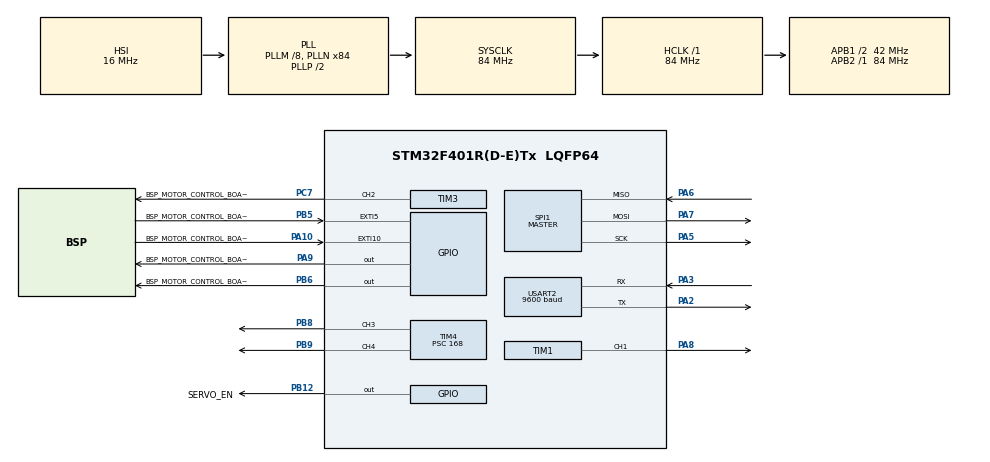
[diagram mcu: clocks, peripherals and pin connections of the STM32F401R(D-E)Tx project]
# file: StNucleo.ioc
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FREERTOS.HEAP_NUMBER=1
FREERTOS.Mutexes01=paramUpdateMutex,Dynamic,NULL
FREERTOS.Queues01=commBuffer,32,uint8_t,0,Dynamic,NULL,NULL
FREERTOS.Tasks01=defaultTask,24,256,DefaultTask,As weak,NULL,Dynamic,NULL,NULL;servoTask,24,256,ServoTask,As weak,NULL,Dynamic,NULL,NULL;motorTask,24,256,MotorTask,As weak,NULL,Dynamic,NULL,NULL
FREERTOS.configMINIMAL_STACK_SIZE=256
Mcu.Family=STM32F4
Mcu.Name=STM32F401R(D-E)Tx
Mcu.Package=LQFP64
NVIC.EXTI15_10_IRQn=true\:5\:0\:true\:false\:true\:false\:true\:true
NVIC.EXTI9_5_IRQn=true\:5\:0\:true\:false\:true\:false\:true\:true
NVIC.PriorityGroup=NVIC_PRIORITYGROUP_4
NVIC.TIM2_IRQn=true\:0\:0\:false\:false\:true\:false\:false\:true
NVIC.TimeBase=TIM2_IRQn
NVIC.TimeBaseIP=TIM2
NVIC.USART2_IRQn=true\:6\:0\:true\:false\:true\:true\:true\:true
PA10.GPIO_Label=BSP_MOTOR_CONTROL_BOARD_FLAG
PA10.Signal=GPXTI10
PA13.Mode=Serial_Wire
PA13.Signal=SYS_JTMS-SWDIO
PA14.Mode=Serial_Wire
PA14.Signal=SYS_JTCK-SWCLK
PA2.Mode=Asynchronous
PA2.Signal=USART2_TX
PA3.Mode=Asynchronous
PA3.Signal=USART2_RX
PA5.Mode=Full_Duplex_Master
PA5.Signal=SPI1_SCK
PA6.Mode=Full_Duplex_Master
PA6.Signal=SPI1_MISO
PA7.Mode=Full_Duplex_Master
PA7.Signal=SPI1_MOSI
PA8.Signal=S_TIM1_CH1
PA9.GPIO_Label=BSP_MOTOR_CONTROL_BOARD_STBY_RESET
PA9.Signal=GPIO_Output
PB12.GPIO_Label=SERVO_EN
PB12.Signal=GPIO_Output
PB5.GPIO_Label=BSP_MOTOR_CONTROL_BOARD_BUSY
PB5.Signal=GPXTI5
PB6.GPIO_Label=BSP_MOTOR_CONTROL_BOARD_CS
PB6.Signal=GPIO_Output
PB8.Signal=S_TIM4_CH3
PB9.Signal=S_TIM4_CH4
PC14-OSC32_IN.Mode=LSE-External-Oscillator
PC14-OSC32_IN.Signal=RCC_OSC32_IN
PC15-OSC32_OUT.Mode=LSE-External-Oscillator
PC15-OSC32_OUT.Signal=RCC_OSC32_OUT
PC7.GPIO_Label=BSP_MOTOR_CONTROL_BOARD_STEP_CLOCK
PC7.Signal=S_TIM3_CH2
ProjectManager.HeapSize=0x200
ProjectManager.StackSize=0x400
ProjectManager.TargetToolchain=STM32CubeIDE
RCC.48MHZClocksFreq_Value=42000000
RCC.AHBFreq_Value=84000000
RCC.APB1CLKDivider=RCC_HCLK_DIV2
RCC.APB1Freq_Value=42000000
RCC.APB1TimFreq_Value=84000000
RCC.APB2Freq_Value=84000000
RCC.APB2TimFreq_Value=84000000
RCC.CortexFreq_Value=84000000
RCC.HCLKFreq_Value=84000000
RCC.HSE_VALUE=25000000
RCC.HSI_VALUE=16000000
RCC.PLLM=8
RCC.PLLN=84
RCC.SYSCLKFreq_VALUE=84000000
RCC.SYSCLKSource=RCC_SYSCLKSOURCE_PLLCLK
RCC.VCOOutputFreq_Value=168000000
SH.S_TIM1_CH1.0=TIM1_CH1,PWM Generation1 CH1
SH.S_TIM3_CH2.0=TIM3_CH2,PWM Generation2 CH2
SH.S_TIM4_CH3.0=TIM4_CH3,PWM Generation3 CH3
SH.S_TIM4_CH4.0=TIM4_CH4,PWM Generation4 CH4
SPI1.BaudRatePrescaler=SPI_BAUDRATEPRESCALER_32
SPI1.CLKPolarity=SPI_POLARITY_HIGH
SPI1.Direction=SPI_DIRECTION_2LINES
SPI1.Mode=SPI_MODE_MASTER
SPI1.VirtualType=VM_MASTER
TIM1.Channel-PWM\ Generation1\ CH1=TIM_CHANNEL_1
TIM1.Period=9999
TIM1.Prescaler=168
TIM3.Channel-PWM\ Generation2\ CH2=TIM_CHANNEL_2
TIM4.Channel-PWM\ Generation3\ CH3=TIM_CHANNEL_3
TIM4.Channel-PWM\ Generation4\ CH4=TIM_CHANNEL_4
TIM4.Period=9999
TIM4.Prescaler=168
USART2.BaudRate=9600
USART2.VirtualMode=VM_ASYNC
VP_FREERTOS_VS_CMSIS_V2.Mode=CMSIS_V2
VP_SYS_VS_tim2.Mode=TIM2
board=custom

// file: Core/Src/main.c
/* USER CODE BEGIN Header */
/**
 ******************************************************************************
 * @file           : main.c
 * @brief          : Main program body
 ******************************************************************************
 * @attention
 *
 * <h2><center>&copy; Copyright (c) 2020 STMicroelectronics.
 * All rights reserved.</center></h2>
 *
 * This software component is licensed by ST under BSD 3-Clause license,
 * the "License"; You may not use this file except in compliance with the
 * License. You may obtain a copy of the License at:
 *                        opensource.org/licenses/BSD-3-Clause
 *
 ******************************************************************************
 */
/* USER CODE END Header */
#include "main.h"
#include "cmsis_os.h"

/* USER CODE BEGIN Includes */
#include "motor.h"
#include "motors.h"
#include <math.h>
#include "x_nucleo_ihmxx.h"
#include "powerstep01.h"
/* USER CODE END Includes */

SPI_HandleTypeDef hspi1;

TIM_HandleTypeDef htim1;
TIM_HandleTypeDef htim3;
TIM_HandleTypeDef htim4;

UART_HandleTypeDef huart2;

/* Definitions for defaultTask */
osThreadId_t defaultTaskHandle;
const osThreadAttr_t defaultTask_attributes = {
  .name = "defaultTask",
  .priority = (osPriority_t) osPriorityNormal,
  .stack_size = 256 * 4
};
/* Definitions for servoTask */
osThreadId_t servoTaskHandle;
const osThreadAttr_t servoTask_attributes = {
  .name = "servoTask",
  .priority = (osPriority_t) osPriorityNormal,
  .stack_size = 256 * 4
};
/* Definitions for motorTask */
osThreadId_t motorTaskHandle;
const osThreadAttr_t motorTask_attributes = {
  .name = "motorTask",
  .priority = (osPriority_t) osPriorityNormal,
  .stack_size = 256 * 4
};
/* Definitions for commBuffer */
osMessageQueueId_t commBufferHandle;
const osMessageQueueAttr_t commBuffer_attributes = {
  .name = "commBuffer"
};
/* Definitions for paramUpdateMutex */
osMutexId_t paramUpdateMutexHandle;
const osMutexAttr_t paramUpdateMutex_attributes = {
  .name = "paramUpdateMutex"
};
/* USER CODE BEGIN PV */
static float drumAngle = 11.5f; //end
static float liftAngle = 12.f;   //full up position
static float ejector = 6.6f;    //closed
/* USER CODE END PV */

void SystemClock_Config(void);
static void MX_GPIO_Init(void);
static void MX_SPI1_Init(void);
static void MX_TIM3_Init(void);
static void MX_USART2_UART_Init(void);
static void MX_TIM4_Init(void);
static void MX_TIM1_Init(void);
void DefaultTask(void *argument);
void ServoTask(void *argument);
void MotorTask(void *argument);

int main(void)
{

  /* MCU Configuration--------------------------------------------------------*/

  /* Reset of all peripherals, Initializes the Flash interface and the Systick. */
  HAL_Init();

  /* USER CODE BEGIN Init */
  uwTickPrio = 15;
  /* USER CODE END Init */

  /* Configure the system clock */
  SystemClock_Config();

  /* Initialize all configured peripherals */
  MX_GPIO_Init();
  MX_SPI1_Init();
  MX_TIM3_Init();
  MX_USART2_UART_Init();
  MX_TIM4_Init();
  MX_TIM1_Init();
  /* USER CODE BEGIN 2 */

  HAL_TIM_PWM_Start(&htim1, TIM_CHANNEL_1);
  HAL_TIM_PWM_Start(&htim4, TIM_CHANNEL_3);
  HAL_TIM_PWM_Start(&htim4, TIM_CHANNEL_4);

  //TIM1->CCR1 = drumAngle*10000/100; // drum
  //TIM4->CCR3 = liftAngle*10000/100; // lift
  //TIM4->CCR4 = ejector*10000/100;   // ejector
  // 50Hz --> 20ms; 1ms ... 2ms --> 5% ... 10%

  /* USER CODE END 2 */

  /* Init scheduler */
  osKernelInitialize();
  /* Create the mutex(es) */
  /* creation of paramUpdateMutex */
  paramUpdateMutexHandle = osMutexNew(&paramUpdateMutex_attributes);

  /* Create the queue(s) */
  /* creation of commBuffer */
  commBufferHandle = osMessageQueueNew (32, sizeof(uint8_t), &commBuffer_attributes);

  /* Create the thread(s) */
  /* creation of defaultTask */
  defaultTaskHandle = osThreadNew(DefaultTask, NULL, &defaultTask_attributes);

  /* creation of servoTask */
  servoTaskHandle = osThreadNew(ServoTask, NULL, &servoTask_attributes);

  /* creation of motorTask */
  motorTaskHandle = osThreadNew(MotorTask, NULL, &motorTask_attributes);

  /* Start scheduler */
  osKernelStart();

  /* We should never get here as control is now taken by the scheduler */
  /* Infinite loop */
	while (1) {

	}
}

void SystemClock_Config(void)
{
  RCC_OscInitTypeDef RCC_OscInitStruct = {0};
  RCC_ClkInitTypeDef RCC_ClkInitStruct = {0};

  /** Configure the main internal regulator output voltage
  */
  __HAL_RCC_PWR_CLK_ENABLE();
  __HAL_PWR_VOLTAGESCALING_CONFIG(PWR_REGULATOR_VOLTAGE_SCALE2);
  /** Initializes the RCC Oscillators according to the specified parameters
  * in the RCC_OscInitTypeDef structure.
  */
  RCC_OscInitStruct.OscillatorType = RCC_OSCILLATORTYPE_HSI;
  RCC_OscInitStruct.HSIState = RCC_HSI_ON;
  RCC_OscInitStruct.HSICalibrationValue = RCC_HSICALIBRATION_DEFAULT;
  RCC_OscInitStruct.PLL.PLLState = RCC_PLL_ON;
  RCC_OscInitStruct.PLL.PLLSource = RCC_PLLSOURCE_HSI;
  RCC_OscInitStruct.PLL.PLLM = 8;
  RCC_OscInitStruct.PLL.PLLN = 84;
  RCC_OscInitStruct.PLL.PLLP = RCC_PLLP_DIV2;
  RCC_OscInitStruct.PLL.PLLQ = 4;
  if (HAL_RCC_OscConfig(&RCC_OscInitStruct) != HAL_OK)
  {
    Error_Handler();
  }
  /** Initializes the CPU, AHB and APB buses clocks
  */
  RCC_ClkInitStruct.ClockType = RCC_CLOCKTYPE_HCLK|RCC_CLOCKTYPE_SYSCLK
                              |RCC_CLOCKTYPE_PCLK1|RCC_CLOCKTYPE_PCLK2;
  RCC_ClkInitStruct.SYSCLKSource = RCC_SYSCLKSOURCE_PLLCLK;
  RCC_ClkInitStruct.AHBCLKDivider = RCC_SYSCLK_DIV1;
  RCC_ClkInitStruct.APB1CLKDivider = RCC_HCLK_DIV2;
  RCC_ClkInitStruct.APB2CLKDivider = RCC_HCLK_DIV1;

  if (HAL_RCC_ClockConfig(&RCC_ClkInitStruct, FLASH_LATENCY_2) != HAL_OK)
  {
    Error_Handler();
  }
}

static void MX_SPI1_Init(void)
{

  /* SPI1 parameter configuration*/
  hspi1.Instance = SPI1;
  hspi1.Init.Mode = SPI_MODE_MASTER;
  hspi1.Init.Direction = SPI_DIRECTION_2LINES;
  hspi1.Init.DataSize = SPI_DATASIZE_8BIT;
  hspi1.Init.CLKPolarity = SPI_POLARITY_HIGH;
  hspi1.Init.CLKPhase = SPI_PHASE_1EDGE;
  hspi1.Init.NSS = SPI_NSS_SOFT;
  hspi1.Init.BaudRatePrescaler = SPI_BAUDRATEPRESCALER_32;
  hspi1.Init.FirstBit = SPI_FIRSTBIT_MSB;
  hspi1.Init.TIMode = SPI_TIMODE_DISABLE;
  hspi1.Init.CRCCalculation = SPI_CRCCALCULATION_DISABLE;
  hspi1.Init.CRCPolynomial = 10;
  if (HAL_SPI_Init(&hspi1) != HAL_OK)
  {
    Error_Handler();
  }

}

static void MX_TIM1_Init(void)
{

  TIM_MasterConfigTypeDef sMasterConfig = {0};
  TIM_OC_InitTypeDef sConfigOC = {0};
  TIM_BreakDeadTimeConfigTypeDef sBreakDeadTimeConfig = {0};

  htim1.Instance = TIM1;
  htim1.Init.Prescaler = 168;
  htim1.Init.CounterMode = TIM_COUNTERMODE_UP;
  htim1.Init.Period = 9999;
  htim1.Init.ClockDivision = TIM_CLOCKDIVISION_DIV1;
  htim1.Init.RepetitionCounter = 0;
  htim1.Init.AutoReloadPreload = TIM_AUTORELOAD_PRELOAD_DISABLE;
  if (HAL_TIM_PWM_Init(&htim1) != HAL_OK)
  {
    Error_Handler();
  }
  sMasterConfig.MasterOutputTrigger = TIM_TRGO_RESET;
  sMasterConfig.MasterSlaveMode = TIM_MASTERSLAVEMODE_DISABLE;
  if (HAL_TIMEx_MasterConfigSynchronization(&htim1, &sMasterConfig) != HAL_OK)
  {
    Error_Handler();
  }
  sConfigOC.OCMode = TIM_OCMODE_PWM1;
  sConfigOC.Pulse = 0;
  sConfigOC.OCPolarity = TIM_OCPOLARITY_HIGH;
  sConfigOC.OCNPolarity = TIM_OCNPOLARITY_HIGH;
  sConfigOC.OCFastMode = TIM_OCFAST_DISABLE;
  sConfigOC.OCIdleState = TIM_OCIDLESTATE_RESET;
  sConfigOC.OCNIdleState = TIM_OCNIDLESTATE_RESET;
  if (HAL_TIM_PWM_ConfigChannel(&htim1, &sConfigOC, TIM_CHANNEL_1) != HAL_OK)
  {
    Error_Handler();
  }
  sBreakDeadTimeConfig.OffStateRunMode = TIM_OSSR_DISABLE;
  sBreakDeadTimeConfig.OffStateIDLEMode = TIM_OSSI_DISABLE;
  sBreakDeadTimeConfig.LockLevel = TIM_LOCKLEVEL_OFF;
  sBreakDeadTimeConfig.DeadTime = 0;
  sBreakDeadTimeConfig.BreakState = TIM_BREAK_DISABLE;
  sBreakDeadTimeConfig.BreakPolarity = TIM_BREAKPOLARITY_HIGH;
  sBreakDeadTimeConfig.AutomaticOutput = TIM_AUTOMATICOUTPUT_DISABLE;
  if (HAL_TIMEx_ConfigBreakDeadTime(&htim1, &sBreakDeadTimeConfig) != HAL_OK)
  {
    Error_Handler();
  }
  HAL_TIM_MspPostInit(&htim1);

}

static void MX_TIM3_Init(void)
{

  TIM_MasterConfigTypeDef sMasterConfig = {0};
  TIM_OC_InitTypeDef sConfigOC = {0};

  htim3.Instance = TIM3;
  htim3.Init.Prescaler = 0;
  htim3.Init.CounterMode = TIM_COUNTERMODE_UP;
  htim3.Init.Period = 65535;
  htim3.Init.ClockDivision = TIM_CLOCKDIVISION_DIV1;
  htim3.Init.AutoReloadPreload = TIM_AUTORELOAD_PRELOAD_DISABLE;
  if (HAL_TIM_PWM_Init(&htim3) != HAL_OK)
  {
    Error_Handler();
  }
  sMasterConfig.MasterOutputTrigger = TIM_TRGO_RESET;
  sMasterConfig.MasterSlaveMode = TIM_MASTERSLAVEMODE_DISABLE;
  if (HAL_TIMEx_MasterConfigSynchronization(&htim3, &sMasterConfig) != HAL_OK)
  {
    Error_Handler();
  }
  sConfigOC.OCMode = TIM_OCMODE_PWM1;
  sConfigOC.Pulse = 0;
  sConfigOC.OCPolarity = TIM_OCPOLARITY_HIGH;
  sConfigOC.OCFastMode = TIM_OCFAST_DISABLE;
  if (HAL_TIM_PWM_ConfigChannel(&htim3, &sConfigOC, TIM_CHANNEL_2) != HAL_OK)
  {
    Error_Handler();
  }
  HAL_TIM_MspPostInit(&htim3);

}

static void MX_TIM4_Init(void)
{

  TIM_MasterConfigTypeDef sMasterConfig = {0};
  TIM_OC_InitTypeDef sConfigOC = {0};

  htim4.Instance = TIM4;
  htim4.Init.Prescaler = 168;
  htim4.Init.CounterMode = TIM_COUNTERMODE_UP;
  htim4.Init.Period = 9999;
  htim4.Init.ClockDivision = TIM_CLOCKDIVISION_DIV1;
  htim4.Init.AutoReloadPreload = TIM_AUTORELOAD_PRELOAD_DISABLE;
  if (HAL_TIM_PWM_Init(&htim4) != HAL_OK)
  {
    Error_Handler();
  }
  sMasterConfig.MasterOutputTrigger = TIM_TRGO_RESET;
  sMasterConfig.MasterSlaveMode = TIM_MASTERSLAVEMODE_DISABLE;
  if (HAL_TIMEx_MasterConfigSynchronization(&htim4, &sMasterConfig) != HAL_OK)
  {
    Error_Handler();
  }
  sConfigOC.OCMode = TIM_OCMODE_PWM1;
  sConfigOC.Pulse = 0;
  sConfigOC.OCPolarity = TIM_OCPOLARITY_HIGH;
  sConfigOC.OCFastMode = TIM_OCFAST_DISABLE;
  if (HAL_TIM_PWM_ConfigChannel(&htim4, &sConfigOC, TIM_CHANNEL_3) != HAL_OK)
  {
    Error_Handler();
  }
  if (HAL_TIM_PWM_ConfigChannel(&htim4, &sConfigOC, TIM_CHANNEL_4) != HAL_OK)
  {
    Error_Handler();
  }
  HAL_TIM_MspPostInit(&htim4);

}

static void MX_USART2_UART_Init(void)
{

  huart2.Instance = USART2;
  huart2.Init.BaudRate = 9600;
  huart2.Init.WordLength = UART_WORDLENGTH_8B;
  huart2.Init.StopBits = UART_STOPBITS_1;
  huart2.Init.Parity = UART_PARITY_NONE;
  huart2.Init.Mode = UART_MODE_TX_RX;
  huart2.Init.HwFlowCtl = UART_HWCONTROL_NONE;
  huart2.Init.OverSampling = UART_OVERSAMPLING_16;
  if (HAL_UART_Init(&huart2) != HAL_OK)
  {
    Error_Handler();
  }

}

static void MX_GPIO_Init(void)
{
  GPIO_InitTypeDef GPIO_InitStruct = {0};

  /* GPIO Ports Clock Enable */
  __HAL_RCC_GPIOC_CLK_ENABLE();
  __HAL_RCC_GPIOA_CLK_ENABLE();
  __HAL_RCC_GPIOB_CLK_ENABLE();

  /*Configure GPIO pin Output Level */
  HAL_GPIO_WritePin(GPIOB, SERVO_EN_Pin|BSP_MOTOR_CONTROL_BOARD_CS_Pin, GPIO_PIN_RESET);

  /*Configure GPIO pin Output Level */
  HAL_GPIO_WritePin(BSP_MOTOR_CONTROL_BOARD_STBY_RESET_GPIO_Port, BSP_MOTOR_CONTROL_BOARD_STBY_RESET_Pin, GPIO_PIN_RESET);

  /*Configure GPIO pins : SERVO_EN_Pin BSP_MOTOR_CONTROL_BOARD_CS_Pin */
  GPIO_InitStruct.Pin = SERVO_EN_Pin|BSP_MOTOR_CONTROL_BOARD_CS_Pin;
  GPIO_InitStruct.Mode = GPIO_MODE_OUTPUT_PP;
  GPIO_InitStruct.Pull = GPIO_NOPULL;
  GPIO_InitStruct.Speed = GPIO_SPEED_FREQ_LOW;
  HAL_GPIO_Init(GPIOB, &GPIO_InitStruct);

  /*Configure GPIO pin : BSP_MOTOR_CONTROL_BOARD_STBY_RESET_Pin */
  GPIO_InitStruct.Pin = BSP_MOTOR_CONTROL_BOARD_STBY_RESET_Pin;
  GPIO_InitStruct.Mode = GPIO_MODE_OUTPUT_PP;
  GPIO_InitStruct.Pull = GPIO_NOPULL;
  GPIO_InitStruct.Speed = GPIO_SPEED_FREQ_LOW;
  HAL_GPIO_Init(BSP_MOTOR_CONTROL_BOARD_STBY_RESET_GPIO_Port, &GPIO_InitStruct);

  /*Configure GPIO pin : BSP_MOTOR_CONTROL_BOARD_FLAG_Pin */
  GPIO_InitStruct.Pin = BSP_MOTOR_CONTROL_BOARD_FLAG_Pin;
  GPIO_InitStruct.Mode = GPIO_MODE_IT_RISING;
  GPIO_InitStruct.Pull = GPIO_NOPULL;
  HAL_GPIO_Init(BSP_MOTOR_CONTROL_BOARD_FLAG_GPIO_Port, &GPIO_InitStruct);

  /*Configure GPIO pin : BSP_MOTOR_CONTROL_BOARD_BUSY_Pin */
  GPIO_InitStruct.Pin = BSP_MOTOR_CONTROL_BOARD_BUSY_Pin;
  GPIO_InitStruct.Mode = GPIO_MODE_IT_RISING;
  GPIO_InitStruct.Pull = GPIO_NOPULL;
  HAL_GPIO_Init(BSP_MOTOR_CONTROL_BOARD_BUSY_GPIO_Port, &GPIO_InitStruct);

  /* EXTI interrupt init*/
  HAL_NVIC_SetPriority(EXTI9_5_IRQn, 5, 0);
  HAL_NVIC_EnableIRQ(EXTI9_5_IRQn);

  HAL_NVIC_SetPriority(EXTI15_10_IRQn, 5, 0);
  HAL_NVIC_EnableIRQ(EXTI15_10_IRQn);

}

/* USER CODE BEGIN Header_DefaultTask */
static uint8_t receiveBuffer;

static volatile uint8_t referenceSpeed = 0;
static volatile uint8_t referenceAngle = 0;
static volatile uint8_t buttonState = 0;
static uint8_t messageCounter = 0xFF;

void HAL_UART_RxCpltCallback(UART_HandleTypeDef *huart) {
	osMessageQueuePut(commBufferHandle, &receiveBuffer, 0, 0);
	HAL_UART_Receive_IT(huart, &receiveBuffer, 1u);
}

void HAL_UART_ErrorCallback(UART_HandleTypeDef *huart) {
	HAL_UART_Receive_IT(huart, &receiveBuffer, 1u);
}

static bool process_message(const uint8_t message[4]) {
	if (messageCounter == message[3]) {
		// guard against repeated messages - a possible case of lost connection
		return false;
	}

	if ((message[0] <= 100) && (message[1] <= 180)) {
		//referenceSpeedOrig = receiveBuffer[1] / 10.0;
		//referenceSpeed = calcSpdRef_LUT(referenceSpeedOrig);
		if (osMutexAcquire(paramUpdateMutexHandle, 100) == osOK) {
			referenceSpeed = message[0];
			referenceAngle = message[1];
			buttonState = message[2];
			messageCounter = message[3];
			osMutexRelease(paramUpdateMutexHandle);
		}

		return true;
	} else {
		return false;
	}
}

/**
 * @brief  Function implementing the defaultTask thread.
 * @param  argument: Not used
 * @retval None
 */
/* USER CODE END Header_DefaultTask */
__weak void DefaultTask(void *argument)
{
  /* USER CODE BEGIN 5 */
	uint8_t message[5] = { 0 };
	uint32_t lastMessageReceived = HAL_GetTick();

	HAL_StatusTypeDef result = HAL_UART_Receive_IT(&huart2, &receiveBuffer, 1u);
	assert_param(result == HAL_OK);

	/* Infinite loop */
	for (;;) {
		if (osMessageQueueGetCount(commBufferHandle) >= 5) {
			osMessageQueueGet(commBufferHandle, &message[0], 0, 0);
			if (message[0] == 0xFF) {
				osMessageQueueGet(commBufferHandle, &message[1], 0, 0);
				osMessageQueueGet(commBufferHandle, &message[2], 0, 0);
				osMessageQueueGet(commBufferHandle, &message[3], 0, 0);
				osMessageQueueGet(commBufferHandle, &message[4], 0, 0);

				if (process_message(&message[1])) {
					lastMessageReceived = HAL_GetTick();

					for (int i = 0; i < MOTOR_COUNT; i++) {
						motors[i].state = ManualMode;
					}
				}
			}
		}

		if ((HAL_GetTick() - lastMessageReceived) > 1000) {
			// 1s timeout
			for (int i = 0; i < MOTOR_COUNT; i++) {
				motors[i].state = Idle;
			}
		}

		osDelay(2);
	}
  /* USER CODE END 5 */
}

static float clip(float a, float min, float max) {
	if (a < min) {
		return min;
	}
	if (a > max) {
		return max;
	}

	return a;
}

static float normalize(uint8_t x) {
	return clip(x / 100.0, 0.0, 1.0);
}

__weak void ServoTask(void *argument)
{
  /* USER CODE BEGIN ServoTask */
	HAL_GPIO_WritePin(SERVO_EN_GPIO_Port, SERVO_EN_Pin, GPIO_PIN_SET);
	bool isStarted = false;
	bool rotateFlag = false;
	float timeStamp = 0.f;
	int phase = 0;

	/* Infinite loop */
	for (;;) {

		// Handle faszika ejector
		if (buttonState & 0x01){
			ejector = 5.f;
		}
		else {
			ejector = 6.6f;
		}

		// Handle sample collection
		if (buttonState & 0x02){
			liftAngle = 3.f;
			isStarted = true;
			rotateFlag = true;
		}
		else {
			if (isStarted){
				liftAngle = 8.f;
			}

			if (rotateFlag) {
				rotateFlag = false;
				drumAngle = drumAngle - 0.9f; // 0.9 is the angle increment!
				drumAngle = clip(drumAngle, 2.5f, 11.5f);
			}

		}

		// Handle sample eject
		if (buttonState & 0x04){
			liftAngle = 8.f;
			if (HAL_GetTick() - timeStamp > 500){
				timeStamp = HAL_GetTick();
				if (phase % 2 == 0){
					drumAngle = drumAngle + 1.5;
				}
				else {
					drumAngle = drumAngle - 0.8;
				}

				drumAngle = clip(drumAngle, 2.5f, 11.5f);

				phase++;
			}
		}

		// Set PWM duty cycles
		TIM1->CCR1 = drumAngle*10000/100; // drum 2.5...11.5
		TIM4->CCR3 = liftAngle*10000/100; // lift 3.0 down, 12 full top for start, 8 for eject
		TIM4->CCR4 = ejector*10000/100;   // ejector
		osDelay(20);
	}
  /* USER CODE END ServoTask */
}

/* USER CODE BEGIN Header_MotorTask */

static void rphi2lr(uint8_t r, uint8_t phi, float *left, float *right) {
#define SPEED_GAIN RPM_TO_STEP_P_S(400.0f)

	float rf = normalize(r);
	float phif = (2 * phi - 90.0f) * M_PI / 180.0f;

	float v = rf * cosf(phif) * 0.5f;
	float w = rf * sinf(phif) * 0.5f;

	*left = (v + w) * SPEED_GAIN;
	*right = (v - w) * SPEED_GAIN;
}

static void set_motor_speed(uint8_t id, float speed) {
	if (motors[id].state == ManualMode) {
		if (fabsf(speed) < RPM_TO_STEP_P_S(1.0f)) {
			BSP_MotorControl_CmdSoftHiZ(id);
		} else if (speed > 0) {
			BSP_MotorControl_CmdRun(id, FORWARD,
					Powerstep01_Speed_Steps_s_to_RegVal(speed));
		} else {
			BSP_MotorControl_CmdRun(id, BACKWARD,
					Powerstep01_Speed_Steps_s_to_RegVal(fabsf(speed)));
		}
	} else {
		BSP_MotorControl_CmdSoftHiZ(id);
	}
}

/**
 * @brief Function implementing the motorTask thread.
 * @param argument: Not used
 * @retval None
 */
/* USER CODE END Header_MotorTask */
__weak void MotorTask(void *argument)
{
  /* USER CODE BEGIN MotorTask */
	motors_Init();

	for (int i = 0; i < MOTOR_COUNT; i++) {
		motors[i].state = Idle;
	}

	/* Infinite loop */
	for (;;) {
		if (osMutexAcquire(paramUpdateMutexHandle, 10) == osOK) {
			float left;
			float right;
			rphi2lr(referenceSpeed, referenceAngle, &left, &right);
			osMutexRelease(paramUpdateMutexHandle);

			set_motor_speed(0, -1.0f * left);
			set_motor_speed(1, right);
		}
		osDelay(10);
	}
  /* USER CODE END MotorTask */
}

void HAL_TIM_PeriodElapsedCallback(TIM_HandleTypeDef *htim)
{
  if (htim->Instance == TIM2) {
    HAL_IncTick();
  }
}

void Error_Handler(void)
{
	while (1) {
	}
}

#ifdef  USE_FULL_ASSERT
/**
  * @brief  Reports the name of the source file and the source line number
  *         where the assert_param error has occurred.
  * @param  file: pointer to the source file name
  * @param  line: assert_param error line source number
  * @retval None
  */
void assert_failed(uint8_t *file, uint32_t line)
{
  /* USER CODE BEGIN 6 */
	Error_Handler();
  /* User can add his own implementation to report the file name and line number,
     tex: printf("Wrong parameters value: file %s on line %d\r\n", file, line) */
  /* USER CODE END 6 */
}
#endif /* USE_FULL_ASSERT */

/************************ (C) COPYRIGHT STMicroelectronics *****END OF FILE****/
